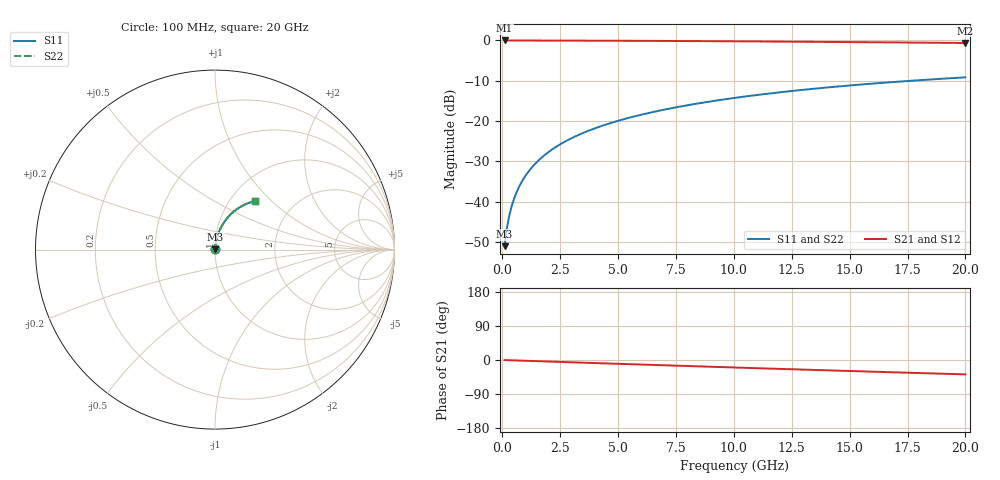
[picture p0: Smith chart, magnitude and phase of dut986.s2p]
! Touchstone file exported from HFSS 2026.1.0
!  File:  C:/ffzhzh/LocalFiles/Ansys_Project_Files/temp_train_TMRDL_986_1783159271_43440.aedt
!  Generated:  06:02:32 PM Jul  4, 2026
!  Design:  TMRDL
!  Project:  temp_train_TMRDL_986_1783159271_43440
! Variables:
!  h_bsmrdl = 2um
!  h_ox = 20um
!  h_rdl = 5um
!  h_sub = 80um
!  h_tmrdl = 5.13um
!  h_tsv = 80um
!  h_via = 3um
!  l_bsmrdl = 300um
!  l_sub = 944.66um
!  l_tmrdl = 544.66um
!  m_sub = 200um
!  pitch = 55.12um
!  r_tsv = 6um
!  s_tmrdl = 10um
!  w_bsmrdl = 18um
!  w_sub = 500um
!  w_tmrdl = 24.54um
!  x_tsv_center1 = 556.93um
!  x_tsv_center2 = 874.93um
!  x_tsv_center3 = 1444.13um
!  x_tsv_center4 = 1762.13um
!  x_tsv_center5 = 2331.33um
!  x_tsv_center6 = 2649.33um
# GHz S MA R 50.000000
! Terminal data exported
! Port[1] = TM_RDL1_1_T1
! Port[2] = TM_RDL1_1_T2
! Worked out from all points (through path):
!   200 points, 100 MHz to 20 GHz, reference 50 ohm
!   highest |S21| = -0.01 dB at 100 MHz (marker M1); lowest = -0.6 dB at 20 GHz (marker M2)
!   group delay of S21, straight-line fit = 5.27 ps
!   lowest |S11| = -51.0 dB at 100 MHz (marker M3), VSWR 1.01, Z = 50.2 + j0.224 ohm
!   |S11| at or under -10 dB: start of sweep to 17.66 GHz
!   |S22| runs from -51.0 to -9.2 dB; largest |S21 - S12| = 3.9e-15
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0.1  0.00282 52.4  0.9983 -0.2  0.9983 -0.2  0.00282 52.4
! Gamma 0 0 0 0
! Port Impedance 50 0 50 0
0.2  0.004739 66.8  0.9982 -0.4  0.9982 -0.4  0.004739 66.8
0.3  0.006722 72.7  0.9981 -0.6  0.9981 -0.6  0.006722 72.7
0.4  0.008727 76.0  0.998 -0.8  0.998 -0.8  0.008727 76.0
0.5  0.01075 78.1  0.9979 -1.0  0.9979 -1.0  0.01075 78.1
0.7  0.01483 80.4  0.9978 -1.4  0.9978 -1.4  0.01483 80.4
0.8  0.01688 81.1  0.9977 -1.6  0.9977 -1.6  0.01688 81.1
1  0.02099 81.9  0.9976 -2.1  0.9976 -2.1  0.02099 81.9
1.2  0.0251 82.3  0.9974 -2.5  0.9974 -2.5  0.0251 82.3
1.4  0.0292 82.4  0.9972 -2.9  0.9972 -2.9  0.0292 82.4
1.7  0.03534 82.4  0.9968 -3.5  0.9968 -3.5  0.03534 82.4
2  0.04146 82.2  0.9964 -4.1  0.9964 -4.1  0.04146 82.2
2.7  0.0556 81.3  0.9953 -5.5  0.9953 -5.5  0.0556 81.3
3.5  0.07154 80.0  0.9938 -7.1  0.9938 -7.1  0.07154 80.0
4.2  0.08529 78.7  0.9922 -8.5  0.9922 -8.5  0.08529 78.7
5  0.1008 77.3  0.9903 -10.1  0.9903 -10.1  0.1008 77.3
6.8  0.135 74.1  0.9854 -13.6  0.9854 -13.6  0.135 74.1
8.3  0.1627 71.4  0.9806 -16.5  0.9806 -16.5  0.1627 71.4
10.1  0.195 68.1  0.9742 -19.9  0.9742 -19.9  0.195 68.1
13.4  0.2509 62.2  0.9605 -26.1  0.9605 -26.1  0.2509 62.2
16.7  0.3022 56.3  0.9451 -32.1  0.9451 -32.1  0.3022 56.3
20  0.3485 50.7  0.9288 -37.9  0.9288 -37.9  0.3485 50.7
